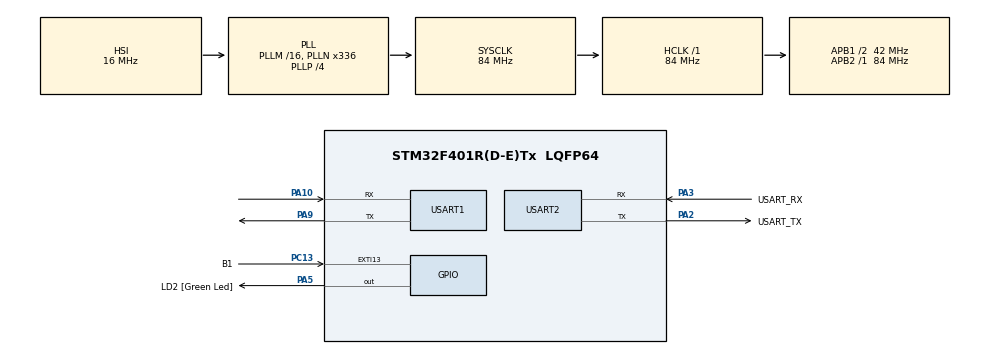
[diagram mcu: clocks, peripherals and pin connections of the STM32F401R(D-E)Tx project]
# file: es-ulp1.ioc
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Mcu.Family=STM32F4
Mcu.Name=STM32F401R(D-E)Tx
Mcu.Package=LQFP64
NVIC.EXTI15_10_IRQn=true\:0\:0\:false\:false\:true\:true\:true\:true
NVIC.PriorityGroup=NVIC_PRIORITYGROUP_0
NVIC.USART1_IRQn=true\:0\:0\:false\:false\:true\:true\:true\:true
NVIC.USART2_IRQn=true\:0\:0\:false\:false\:true\:true\:true\:true
PA10.Mode=Asynchronous
PA10.Signal=USART1_RX
PA13.GPIO_Label=TMS
PA13.Mode=Serial_Wire
PA13.Signal=SYS_JTMS-SWDIO
PA14.GPIO_Label=TCK
PA14.Mode=Serial_Wire
PA14.Signal=SYS_JTCK-SWCLK
PA2.GPIO_Label=USART_TX
PA2.GPIO_Mode=GPIO_MODE_AF_PP
PA2.GPIO_PuPd=GPIO_NOPULL
PA2.GPIO_Speed=GPIO_SPEED_FREQ_LOW
PA2.Mode=Asynchronous
PA2.Signal=USART2_TX
PA3.GPIO_Label=USART_RX
PA3.GPIO_Mode=GPIO_MODE_AF_PP
PA3.GPIO_PuPd=GPIO_NOPULL
PA3.GPIO_Speed=GPIO_SPEED_FREQ_LOW
PA3.Mode=Asynchronous
PA3.Signal=USART2_RX
PA5.GPIO_Label=LD2 [Green Led]
PA5.GPIO_Mode=GPIO_MODE_OUTPUT_PP
PA5.GPIO_PuPd=GPIO_NOPULL
PA5.GPIO_Speed=GPIO_SPEED_FREQ_LOW
PA5.Signal=GPIO_Output
PA9.Mode=Asynchronous
PA9.Signal=USART1_TX
PB3.GPIO_Label=SWO
PB3.Signal=SYS_JTDO-SWO
PC13-ANTI_TAMP.GPIO_Label=B1
PC13-ANTI_TAMP.GPIO_ModeDefaultEXTI=GPIO_MODE_IT_FALLING
PC13-ANTI_TAMP.GPIO_PuPd=GPIO_NOPULL
PC13-ANTI_TAMP.Signal=GPXTI13
PC14-OSC32_IN.Mode=LSE-External-Oscillator
PC14-OSC32_IN.Signal=RCC_OSC32_IN
PC15-OSC32_OUT.Mode=LSE-External-Oscillator
PC15-OSC32_OUT.Signal=RCC_OSC32_OUT
PH0\ -\ OSC_IN.Mode=HSE-External-Clock-Source
PH0\ -\ OSC_IN.Signal=RCC_OSC_IN
PH1\ -\ OSC_OUT.Mode=HSE-External-Clock-Source
PH1\ -\ OSC_OUT.Signal=RCC_OSC_OUT
ProjectManager.HeapSize=0x200
ProjectManager.StackSize=0x400
ProjectManager.TargetToolchain=STM32CubeIDE
RCC.48MHZClocksFreq_Value=48000000
RCC.AHBFreq_Value=84000000
RCC.APB1CLKDivider=RCC_HCLK_DIV2
RCC.APB1Freq_Value=42000000
RCC.APB1TimFreq_Value=84000000
RCC.APB2Freq_Value=84000000
RCC.APB2TimFreq_Value=84000000
RCC.CortexFreq_Value=84000000
RCC.HCLKFreq_Value=84000000
RCC.HSE_VALUE=8000000
RCC.HSI_VALUE=16000000
RCC.PLLN=336
RCC.PLLP=RCC_PLLP_DIV4
RCC.PLLQ=7
RCC.SYSCLKFreq_VALUE=84000000
RCC.SYSCLKSource=RCC_SYSCLKSOURCE_PLLCLK
RCC.VCOOutputFreq_Value=336000000
USART1.VirtualMode=VM_ASYNC
USART2.VirtualMode=VM_ASYNC
board=NUCLEO-F401RE

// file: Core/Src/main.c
/* USER CODE BEGIN Header */
/**
  ******************************************************************************
  * @file           : main.c
  * @brief          : Main program body
  ******************************************************************************
  * @attention
  *
  * Copyright (c) 2023 STMicroelectronics.
  * All rights reserved.
  *
  * This software is licensed under terms that can be found in the LICENSE file
  * in the root directory of this software component.
  * If no LICENSE file comes with this software, it is provided AS-IS.
  *
  ******************************************************************************
  */
/* USER CODE END Header */
#include "main.h"

/* USER CODE BEGIN Includes */
#include <stdbool.h>
#include <string.h>
/* USER CODE END Includes */

/* USER CODE BEGIN PD */
#define MY_ADDRESS 3 /* board number */

#define MMCP_MASTER_ADDRESS 0
#define MMCP_VERSION 5

#define L7_PDU_size 9
#define L7_SDU_size 8
#define L7_PCI_size 1

#define L3_PDU_size 13
#define L3_SDU_size 9
#define L3_PCI_size 4

#define L2_PDU_size 14
#define L2_SDU_size 13
#define L2_PCI_size 1

#define L1_PDU_size 16
#define L1_SDU_size 14
#define L1_PCI_size 2

#define SOF 0 /* start of frame */
#define EOF 0 /* end of frame */

#define DEBOUNCE_INTERVAL 10 /* button debounce time in milliseconds */

#define CRC_POLYNOMIAL 0x9b /* see crc() */
#define CRC_WIDTH  (8 * sizeof(uint8_t)) /* see crc() */
#define CRC_TOPBIT (1 << (CRC_WIDTH - 1)) /* see crc() */
/* USER CODE END PD */

UART_HandleTypeDef huart1;
UART_HandleTypeDef huart2;

/* USER CODE BEGIN PV */
bool dataReceived = false; /* true when serial receive is complete */
bool dataTransmitted = false; /* true when serial transmit is complete */

uint8_t rxBuffer[L1_PDU_size] = { 0 }; /* receive buffer */

uint8_t cnt = 0; /* button press counter */
/* USER CODE END PV */

void SystemClock_Config(void);
static void MX_GPIO_Init(void);
static void MX_USART2_UART_Init(void);
static void MX_USART1_UART_Init(void);
/* USER CODE BEGIN PFP */
void HAL_UART_RxCpltCallback(UART_HandleTypeDef *huart);
void HAL_UART_TxCpltCallback(UART_HandleTypeDef *huart);
void HAL_GPIO_EXTI_Callback(uint16_t GPIO_Pin);

void L1_send(uint8_t L1_SDU[]);
void L1_receive(uint8_t L1_PDU[]);
void L2_send(uint8_t L2_SDU[]);
void L2_receive(uint8_t L2_PDU[]);
void L3_send(uint8_t L3_SDU[]);
void L3_receive(uint8_t L3_PDU[]);
void L7_send(uint8_t ApNr, uint8_t L7_SDU[]);
void L7_receive(uint8_t L7_PDU[]);

uint8_t crc(uint8_t const message[], int nBytes);
/* USER CODE END PFP */

int main(void)
{

  /* MCU Configuration--------------------------------------------------------*/

  /* Reset of all peripherals, Initializes the Flash interface and the Systick. */
  HAL_Init();

  /* Configure the system clock */
  SystemClock_Config();

  /* Initialize all configured peripherals */
  MX_GPIO_Init();
  MX_USART2_UART_Init();
  MX_USART1_UART_Init();

  /* Infinite loop */
  while (1)
  {

    /* USER CODE BEGIN 3 */
    HAL_UART_Receive_IT(&huart2, rxBuffer, L1_PDU_size);

    while (!dataReceived) {} /* wait for HAL_UART_RxCpltCallback */
    dataReceived = false;

    while (!dataTransmitted) {} /* wait for HAL_UART_TxCpltCallback or error */
    dataTransmitted = false;
  }
  /* USER CODE END 3 */
}

void SystemClock_Config(void)
{
  RCC_OscInitTypeDef RCC_OscInitStruct = {0};
  RCC_ClkInitTypeDef RCC_ClkInitStruct = {0};

  /** Configure the main internal regulator output voltage
  */
  __HAL_RCC_PWR_CLK_ENABLE();
  __HAL_PWR_VOLTAGESCALING_CONFIG(PWR_REGULATOR_VOLTAGE_SCALE2);

  /** Initializes the RCC Oscillators according to the specified parameters
  * in the RCC_OscInitTypeDef structure.
  */
  RCC_OscInitStruct.OscillatorType = RCC_OSCILLATORTYPE_HSI;
  RCC_OscInitStruct.HSIState = RCC_HSI_ON;
  RCC_OscInitStruct.HSICalibrationValue = RCC_HSICALIBRATION_DEFAULT;
  RCC_OscInitStruct.PLL.PLLState = RCC_PLL_ON;
  RCC_OscInitStruct.PLL.PLLSource = RCC_PLLSOURCE_HSI;
  RCC_OscInitStruct.PLL.PLLM = 16;
  RCC_OscInitStruct.PLL.PLLN = 336;
  RCC_OscInitStruct.PLL.PLLP = RCC_PLLP_DIV4;
  RCC_OscInitStruct.PLL.PLLQ = 7;
  if (HAL_RCC_OscConfig(&RCC_OscInitStruct) != HAL_OK)
  {
    Error_Handler();
  }

  /** Initializes the CPU, AHB and APB buses clocks
  */
  RCC_ClkInitStruct.ClockType = RCC_CLOCKTYPE_HCLK|RCC_CLOCKTYPE_SYSCLK
                              |RCC_CLOCKTYPE_PCLK1|RCC_CLOCKTYPE_PCLK2;
  RCC_ClkInitStruct.SYSCLKSource = RCC_SYSCLKSOURCE_PLLCLK;
  RCC_ClkInitStruct.AHBCLKDivider = RCC_SYSCLK_DIV1;
  RCC_ClkInitStruct.APB1CLKDivider = RCC_HCLK_DIV2;
  RCC_ClkInitStruct.APB2CLKDivider = RCC_HCLK_DIV1;

  if (HAL_RCC_ClockConfig(&RCC_ClkInitStruct, FLASH_LATENCY_2) != HAL_OK)
  {
    Error_Handler();
  }
}

static void MX_USART1_UART_Init(void)
{

  huart1.Instance = USART1;
  huart1.Init.BaudRate = 115200;
  huart1.Init.WordLength = UART_WORDLENGTH_8B;
  huart1.Init.StopBits = UART_STOPBITS_1;
  huart1.Init.Parity = UART_PARITY_NONE;
  huart1.Init.Mode = UART_MODE_TX_RX;
  huart1.Init.HwFlowCtl = UART_HWCONTROL_NONE;
  huart1.Init.OverSampling = UART_OVERSAMPLING_16;
  if (HAL_UART_Init(&huart1) != HAL_OK)
  {
    Error_Handler();
  }

}

static void MX_USART2_UART_Init(void)
{

  huart2.Instance = USART2;
  huart2.Init.BaudRate = 115200;
  huart2.Init.WordLength = UART_WORDLENGTH_8B;
  huart2.Init.StopBits = UART_STOPBITS_1;
  huart2.Init.Parity = UART_PARITY_NONE;
  huart2.Init.Mode = UART_MODE_TX_RX;
  huart2.Init.HwFlowCtl = UART_HWCONTROL_NONE;
  huart2.Init.OverSampling = UART_OVERSAMPLING_16;
  if (HAL_UART_Init(&huart2) != HAL_OK)
  {
    Error_Handler();
  }

}

static void MX_GPIO_Init(void)
{
  GPIO_InitTypeDef GPIO_InitStruct = {0};

  /* GPIO Ports Clock Enable */
  __HAL_RCC_GPIOC_CLK_ENABLE();
  __HAL_RCC_GPIOH_CLK_ENABLE();
  __HAL_RCC_GPIOA_CLK_ENABLE();
  __HAL_RCC_GPIOB_CLK_ENABLE();

  /*Configure GPIO pin Output Level */
  HAL_GPIO_WritePin(LD2_GPIO_Port, LD2_Pin, GPIO_PIN_RESET);

  /*Configure GPIO pin : B1_Pin */
  GPIO_InitStruct.Pin = B1_Pin;
  GPIO_InitStruct.Mode = GPIO_MODE_IT_FALLING;
  GPIO_InitStruct.Pull = GPIO_NOPULL;
  HAL_GPIO_Init(B1_GPIO_Port, &GPIO_InitStruct);

  /*Configure GPIO pin : LD2_Pin */
  GPIO_InitStruct.Pin = LD2_Pin;
  GPIO_InitStruct.Mode = GPIO_MODE_OUTPUT_PP;
  GPIO_InitStruct.Pull = GPIO_NOPULL;
  GPIO_InitStruct.Speed = GPIO_SPEED_FREQ_LOW;
  HAL_GPIO_Init(LD2_GPIO_Port, &GPIO_InitStruct);

  /* EXTI interrupt init*/
  HAL_NVIC_SetPriority(EXTI15_10_IRQn, 0, 0);
  HAL_NVIC_EnableIRQ(EXTI15_10_IRQn);

}

/* USER CODE BEGIN 4 */
void HAL_UART_RxCpltCallback(UART_HandleTypeDef *huart)
{
  L1_receive(rxBuffer);

  dataReceived = true;
}

void HAL_UART_TxCpltCallback(UART_HandleTypeDef *huart)
{
  dataTransmitted = true;
}

void HAL_GPIO_EXTI_Callback(uint16_t GPIO_Pin)
{
  unsigned long millis = HAL_GetTick(); /* elapsed time in milliseconds */
  static unsigned long lastPress = 0; /* time since last button press */

  if (GPIO_Pin == B1_Pin && (millis - lastPress) > DEBOUNCE_INTERVAL) {
    cnt++;
    lastPress = millis;
  }
}

void L1_send(uint8_t L1_SDU[])
{
  uint8_t L1_PDU[L1_PDU_size] = { 0 };

  L1_PDU[0] = SOF;
  memcpy(&L1_PDU[1], L1_SDU, L1_SDU_size);
  L1_PDU[L1_PDU_size - 1] = EOF;

  HAL_UART_Transmit_IT(&huart2, L1_PDU, L1_PDU_size);
}

void L1_receive(uint8_t L1_PDU[])
{
  uint8_t L1_SDU[L1_SDU_size] = { 0 };

  memcpy(L1_SDU, &L1_PDU[1], L1_SDU_size);

  L2_receive(L1_SDU);
}

void L2_send(uint8_t L2_SDU[])
{
  uint8_t L2_PDU[L2_PDU_size] = { 0 };

  memcpy(L2_PDU, L2_SDU, L2_SDU_size);
  L2_PDU[L2_SDU_size] = crc(L2_SDU, L2_SDU_size); /* checksum */

  L1_send(L2_PDU);
}

void L2_receive(uint8_t L2_PDU[])
{
  uint8_t L2_SDU[L2_SDU_size] = { 0 };
  uint8_t checksum = L2_PDU[L2_SDU_size];

  memcpy(L2_SDU, L2_PDU, L2_SDU_size);

  if (checksum == crc(L2_SDU, L2_SDU_size)) {
    L3_receive(L2_SDU);
  } else {
    dataTransmitted = true; /* error */
  }
}

void L3_send(uint8_t L3_SDU[])
{
  uint8_t L3_PDU[L3_PDU_size] = { 0 };

  L3_PDU[0] = MMCP_MASTER_ADDRESS; /* to */
  L3_PDU[1] = MY_ADDRESS; /* from */
  L3_PDU[2] = MMCP_VERSION; /* version */

  memcpy(&L3_PDU[L3_PCI_size], L3_SDU, L3_SDU_size);

  L2_send(L3_PDU);
}

void L3_receive(uint8_t L3_PDU[])
{
  uint8_t L3_PCI[L3_PCI_size] = { 0 };
  uint8_t L3_SDU[L3_SDU_size] = { 0 };

  memcpy(L3_PCI, L3_PDU, L3_PCI_size);
  memcpy(L3_SDU, &L3_PDU[L3_PCI_size], L3_SDU_size);

  uint8_t to = L3_PCI[0];
  uint8_t from = L3_PCI[1];
  uint8_t version = L3_PCI[2];

  if (to != MMCP_MASTER_ADDRESS && from == MMCP_MASTER_ADDRESS && version == MMCP_VERSION) {
    if (L3_PDU[0] == MY_ADDRESS) {
      L7_receive(L3_SDU);
    } else {
      L3_PDU[3]++; /* increment counter */
      L2_send(L3_PDU);
    }
  } else {
    dataTransmitted = true; /* error */
  }
}

void L7_send(uint8_t ApNr, uint8_t L7_SDU[])
{
  uint8_t L7_PDU[L7_PDU_size] = { 0 };

  L7_PDU[0] = ApNr;
  memcpy(&L7_PDU[1], L7_SDU, L7_SDU_size);

  L3_send(L7_PDU);
}

void L7_receive(uint8_t L7_PDU[])
{
  uint8_t L7_SDU[L7_SDU_size] = { 0 };
  uint8_t ApNr = L7_PDU[0];

  memcpy(L7_SDU, &L7_PDU[1], L7_SDU_size);

  switch (ApNr) {
    case 100: /* set LED */
      if (L7_SDU[7] != 0) { /* set LED on */
        HAL_GPIO_WritePin(GPIOA, GPIO_PIN_5, GPIO_PIN_SET);
      } else { /* set LED off */
        HAL_GPIO_WritePin(GPIOA, GPIO_PIN_5, GPIO_PIN_RESET);
      }
      break;

    case 101: /* read number of keystrokes */
      L7_SDU[7] = cnt;
      cnt = 0;
      break;

    case 102: /* read out and return UID */
      uint32_t uid_part1 = HAL_GetUIDw0();
      uint32_t uid_part2 = HAL_GetUIDw1();

      memcpy(L7_SDU, &uid_part1, sizeof(uid_part1));
      memcpy(&L7_SDU[4], &uid_part2, sizeof(uid_part2));
      break;

    case 103: /* read out and return UID */
      uint32_t uid_part3 = HAL_GetUIDw2();

      memcpy(L7_SDU, &uid_part3, sizeof(uid_part3));
      break;

    default:
      dataTransmitted = true; /* error */
      break;
  }

  L7_send(ApNr, L7_SDU);
}

uint8_t crc(uint8_t const message[], int nBytes) {
  uint8_t remainder = 0;

  for (int byte = 0; byte < nBytes; ++byte) {
    remainder ^= (message[byte] << (CRC_WIDTH - 8));
    for (uint8_t bit = 8; bit > 0; --bit){
      if (remainder & CRC_TOPBIT) {
        remainder = (remainder << 1) ^ CRC_POLYNOMIAL;
      } else {
        remainder = (remainder << 1);
      }
    }
  }

  return remainder;
}
/* USER CODE END 4 */

void Error_Handler(void)
{
  __disable_irq();
  while (1)
  {
  }
}
